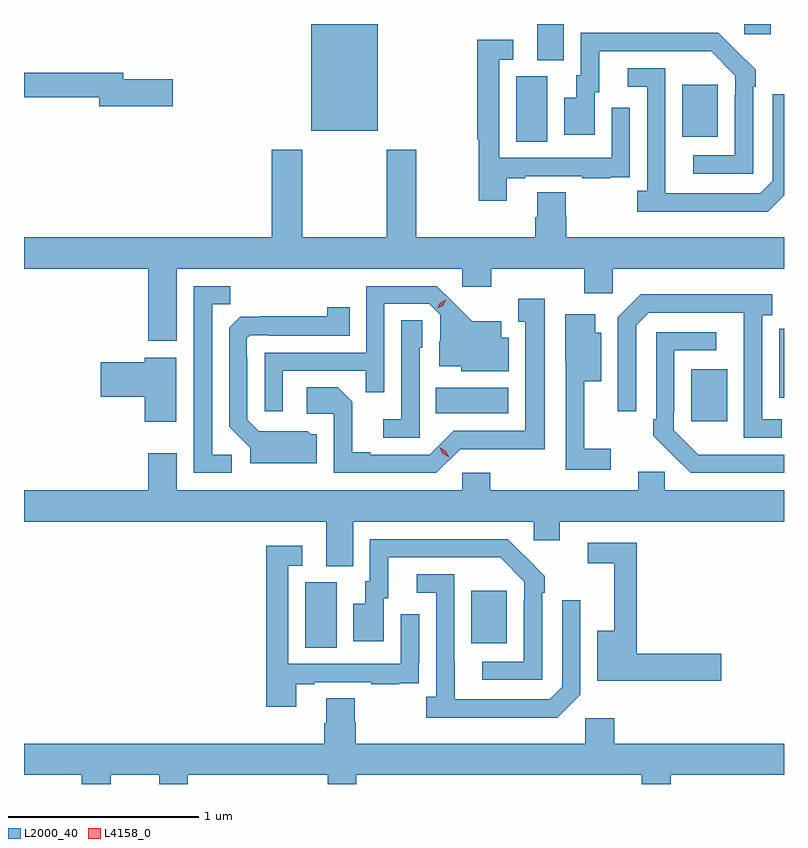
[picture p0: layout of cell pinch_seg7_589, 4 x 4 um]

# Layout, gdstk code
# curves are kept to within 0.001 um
import gdstk
lib = gdstk.Library(unit=1e-6, precision=1e-09)
def R(c, l, rs):  # rectangles x0, y0, x1, y1
    for r in rs: c.add(gdstk.rectangle(r[:2], r[2:], *l))
def P(c, l, *ps):  # polygons
    for p in ps: c.add(gdstk.Polygon(p, *l))
L2000_40 = (2000, 40)
L4158_0 = (4158, 0)

pinch_seg7_589 = lib.new_cell('pinch_seg7_589')
R(pinch_seg7_589, L2000_40, [(147.116,1018.6,147.28,1018.944), (147.989,1018.625,148.177,1018.9), (149.147,1019.793,149.335,1020.067), (147.802,1019.834,148.183,1019.968), (148.226,1021.264,148.39,1021.608), (149.099,1021.289,149.287,1021.564), (147.146,1021.322,147.496,1021.883), (148.337,1021.693,148.477,1021.883), (149.427,1021.83,149.566,1021.883)])
P(pinch_seg7_589, L2000_40, [(149.472,1021.553),(149.487,1021.553),(149.487,1021.641),(149.29,1021.836),(148.566,1021.836),(148.566,1021.614),(148.541,1021.614),(148.541,1021.495),(148.478,1021.495),(148.478,1021.299),(148.639,1021.299),(148.639,1021.524),(148.663,1021.524),(148.663,1021.74),(149.251,1021.74),(149.379,1021.611),(149.379,1021.511),(149.376,1021.511),(149.376,1021.191),(149.157,1021.191),(149.157,1021.095),(149.472,1021.095)],
  [(148.177,1021.071),(148.273,1021.071),(148.273,1021.083),(148.573,1021.083),(148.573,1021.071),(148.721,1021.071),(148.721,1021.077),(148.823,1021.077),(148.823,1021.186),(148.824,1021.186),(148.824,1021.441),(148.728,1021.441),(148.728,1021.179),(148.137,1021.179),(148.137,1021.695),(148.21,1021.695),(148.21,1021.801),(148.021,1021.801),(148.021,1021.276),(148.029,1021.276),(148.029,1020.954),(148.177,1020.954)],
  [(149.635,1020.981),(149.635,1021.513),(149.577,1021.513),(149.577,1021.059),(149.511,1020.993),(149.011,1020.993),(149.01,1021.65),(148.812,1021.65),(148.812,1021.554),(148.914,1021.554),(148.914,1021.006),(148.863,1021.006),(148.863,1020.896),(149.55,1020.896)],
  [(146.419,1021.593),(146.158,1021.593),(146.158,1021.627),(145.635,1021.627),(145.635,1021.498),(146.03,1021.498),(146.03,1021.451),(146.419,1021.451)],
  [(146.44,1020.596),(147.942,1020.596),(147.942,1020.501),(148.094,1020.501),(148.094,1020.596),(148.583,1020.596),(148.583,1020.465),(148.734,1020.465),(148.734,1020.596),(149.635,1020.596),(149.635,1020.76),(148.49,1020.76),(148.49,1020.873),(148.485,1020.873),(148.485,1020.998),(148.337,1020.998),(148.337,1020.866),(148.325,1020.866),(148.325,1020.76),(147.699,1020.76),(147.699,1021.222),(147.544,1021.222),(147.544,1020.76),(147.099,1020.76),(147.099,1021.222),(146.939,1021.222),(146.939,1020.76),(145.635,1020.76),(145.635,1020.596),(146.288,1020.596),(146.288,1020.216),(146.44,1020.216)],
  [(146.997,1020.057),(147.433,1020.057),(147.433,1019.944),(147.531,1019.944),(147.531,1020.411),(147.768,1020.411),(147.825,1020.354),(147.825,1020.212),(147.821,1020.212),(147.821,1020.083),(147.936,1020.083),(147.936,1020.056),(148.186,1020.056),(148.186,1020.232),(148.147,1020.232),(148.147,1020.319),(147.995,1020.319),(147.808,1020.504),(147.435,1020.504),(147.435,1020.153),(146.901,1020.153),(146.901,1019.844),(146.997,1019.844)],
  [(146.728,1019.616),(146.625,1019.616),(146.625,1020.409),(146.721,1020.409),(146.721,1020.504),(146.529,1020.504),(146.529,1019.52),(146.728,1019.52)],
  [(149.623,1019.802),(149.52,1019.802),(149.52,1020.35),(149.572,1020.35),(149.572,1020.46),(148.882,1020.46),(148.761,1020.339),(148.761,1019.844),(148.857,1019.844),(148.857,1020.297),(148.923,1020.363),(149.423,1020.363),(149.424,1019.706),(149.623,1019.706)],
  [(147.93,1019.646),(148.375,1019.645),(148.375,1020.436),(148.235,1020.436),(148.235,1020.315),(148.274,1020.315),(148.274,1019.742),(147.897,1019.742),(147.771,1019.616),(147.457,1019.616),(147.457,1019.629),(147.363,1019.629),(147.363,1019.896),(147.287,1019.972),(147.123,1019.972),(147.123,1019.832),(147.264,1019.832),(147.264,1019.52),(147.804,1019.52)],
  [(147.175,1019.724),(147.144,1019.724),(147.128,1019.74),(146.871,1019.739),(146.811,1019.799),(146.811,1020.128),(146.808,1020.128),(146.808,1020.228),(146.826,1020.246),(146.926,1020.246),(146.926,1020.243),(147.35,1020.243),(147.35,1020.391),(147.232,1020.391),(147.232,1020.344),(146.774,1020.343),(146.715,1020.284),(146.715,1019.762),(146.825,1019.652),(146.825,1019.57),(147.175,1019.57)],
  [(148.723,1019.647),(148.583,1019.647),(148.583,1020.002),(148.672,1020.002),(148.672,1020.259),(148.642,1020.259),(148.642,1020.355),(148.484,1020.355),(148.484,1020.106),(148.485,1020.106),(148.485,1019.538),(148.723,1019.538)],
  [(147.717,1020.18),(147.732,1020.18),(147.732,1020.323),(147.621,1020.323),(147.621,1019.803),(147.525,1019.803),(147.525,1019.706),(147.717,1019.706)],
  [(149.635,1020.279),(149.611,1020.279),(149.611,1020.17),(149.61,1020.17),(149.61,1019.916),(149.635,1019.916)],
  [(149.635,1019.616),(149.184,1019.617),(149.055,1019.745),(149.055,1019.845),(149.058,1019.845),(149.058,1020.165),(149.278,1020.165),(149.278,1020.261),(148.962,1020.261),(148.962,1019.803),(148.947,1019.803),(148.947,1019.715),(149.144,1019.52),(149.635,1019.52)],
  [(146.437,1020.127),(146.27,1020.127),(146.27,1020.104),(146.04,1020.104),(146.04,1019.921),(146.27,1019.921),(146.27,1019.79),(146.437,1019.79)],
  [(147.367,1019.264),(148.317,1019.264),(148.317,1019.166),(148.456,1019.166),(148.456,1019.264),(149.635,1019.264),(149.635,1019.428),(149.007,1019.428),(149.007,1019.526),(148.868,1019.526),(148.868,1019.428),(148.089,1019.428),(148.089,1019.521),(147.942,1019.521),(147.942,1019.428),(146.44,1019.428),(146.44,1019.623),(146.288,1019.623),(146.288,1019.428),(145.635,1019.428),(145.635,1019.264),(147.227,1019.264),(147.227,1019.029),(147.367,1019.029)],
  [(148.362,1018.889),(148.377,1018.889),(148.377,1018.977),(148.18,1019.172),(147.456,1019.172),(147.456,1018.95),(147.431,1018.95),(147.431,1018.831),(147.368,1018.831),(147.368,1018.635),(147.529,1018.635),(147.529,1018.86),(147.553,1018.86),(147.553,1019.076),(148.141,1019.076),(148.269,1018.947),(148.269,1018.847),(148.266,1018.847),(148.266,1018.527),(148.047,1018.527),(148.047,1018.431),(148.362,1018.431)],
  [(149.305,1018.568),(148.859,1018.568),(148.859,1019.154),(148.602,1019.154),(148.602,1019.046),(148.742,1019.046),(148.742,1018.69),(148.652,1018.69),(148.652,1018.426),(149.305,1018.426)],
  [(147.067,1018.407),(147.163,1018.407),(147.163,1018.419),(147.463,1018.419),(147.463,1018.407),(147.611,1018.407),(147.611,1018.413),(147.713,1018.413),(147.713,1018.522),(147.714,1018.522),(147.714,1018.777),(147.618,1018.777),(147.618,1018.515),(147.027,1018.515),(147.027,1019.031),(147.1,1019.031),(147.1,1019.137),(146.911,1019.137),(146.911,1018.29),(147.067,1018.29)],
  [(148.563,1018.353),(148.563,1018.849),(148.467,1018.849),(148.467,1018.395),(148.401,1018.329),(147.901,1018.329),(147.9,1018.986),(147.702,1018.986),(147.702,1018.89),(147.804,1018.89),(147.804,1018.342),(147.753,1018.342),(147.753,1018.232),(148.442,1018.232)],
  [(146.092,1017.932),(146.348,1017.932),(146.348,1017.883),(146.496,1017.883),(146.496,1017.932),(147.233,1017.932),(147.233,1017.883),(147.384,1017.883),(147.384,1017.932),(148.886,1017.932),(148.886,1017.883),(149.039,1017.883),(149.039,1017.932),(149.635,1017.932),(149.635,1018.096),(148.742,1018.096),(148.742,1018.228),(148.59,1018.228),(148.59,1018.096),(147.38,1018.096),(147.38,1018.209),(147.375,1018.209),(147.375,1018.334),(147.227,1018.334),(147.227,1018.202),(147.215,1018.202),(147.215,1018.096),(145.635,1018.096),(145.635,1017.932),(145.94,1017.932),(145.94,1017.883),(146.092,1017.883)])
P(pinch_seg7_589, L4158_0, [(147.872,1019.602),(147.84,1019.622),(147.823,1019.654),(147.823,1019.655),(147.823,1019.655),(147.855,1019.635),(147.872,1019.603),(147.872,1019.602)],
  [(147.809,1020.386),(147.809,1020.386),(147.826,1020.416),(147.857,1020.431),(147.858,1020.431),(147.858,1020.431),(147.84,1020.401),(147.81,1020.386)])

lib.write_gds('pinch_seg7_589.gds')
